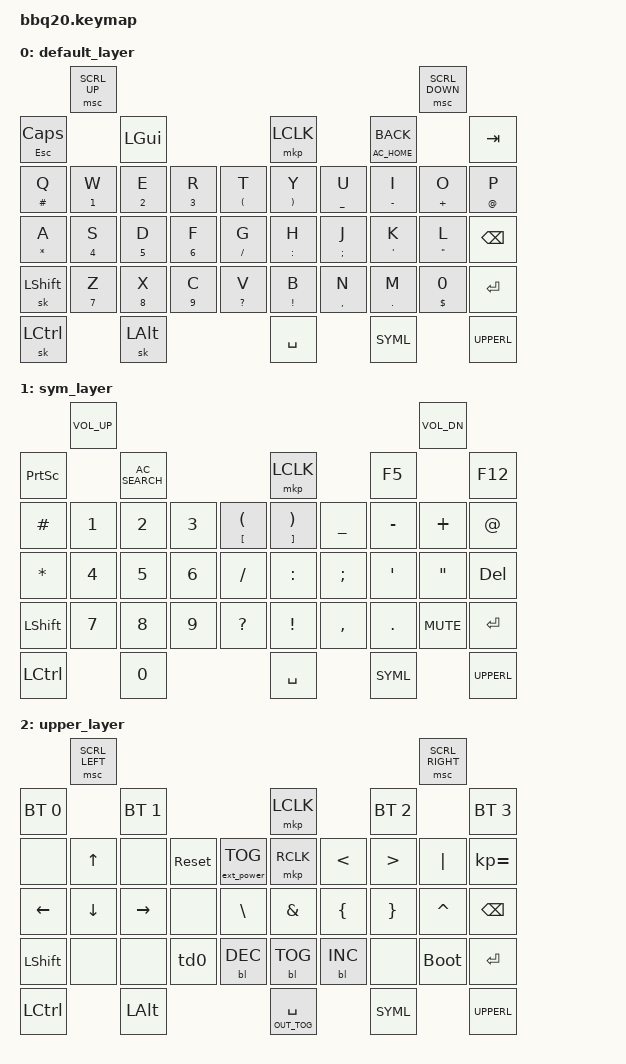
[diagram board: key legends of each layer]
/*
 * Copyright (c) 2023 ZitaoTech
 *
 * SPDX-License-Identifier: MIT
 */
 
#include <behaviors.dtsi>
#include <dt-bindings/zmk/keys.h>
#include <dt-bindings/zmk/bt.h>
#include <dt-bindings/zmk/outputs.h>
#include <dt-bindings/zmk/mouse.h>
#include <dt-bindings/zmk/backlight.h>
#include <dt-bindings/zmk/ext_power.h>

   
#define SYM 1
#define UPPER 2



/ {
    behaviors {
        td0: tap_dance_0 {
            compatible = "zmk,behavior-tap-dance";
            #binding-cells = <0>;
            tapping-term-ms = <400>;
            bindings = <&mkp LCLK>, <&bt BT_CLR>;
        };
    };
    behaviors {
        SYML: tap_dance_1 {
            compatible = "zmk,behavior-tap-dance";
            #binding-cells = <0>;
            tapping-term-ms = <500>;
            bindings = <&sl SYM>, <&tog SYM>;
        };
    };
    behaviors {
        UPPERL: tap_dance_2 {
            compatible = "zmk,behavior-tap-dance";
            #binding-cells = <0>;
            tapping-term-ms = <500>;
            bindings = <&sl UPPER>, <&tog UPPER>;
        };
    };
    behaviors {
        hm: homerow_mods {
            compatible = "zmk,behavior-hold-tap";
            #binding-cells = <2>;
            tapping-term-ms = <500>;
            bindings = <&out &kp>;
        };
    };
    // Credit: Drexel Macintosh
    behaviors {
      tap: tap {
        compatible = "zmk,behavior-macro-one-param";
        #binding-cells = <1>;
        // By default, macros will tap each behavior in the bindings list,
        // so this will tap "&kp <param1>".
        bindings = <&macro_param_1to1 &kp MACRO_PLACEHOLDER>;
      };

      // &mt where held key does not repeat
      mtt: mod_tap_tap {
        compatible = "zmk,behavior-hold-tap";
        #binding-cells = <2>;
        flavor = "tap-preferred";
        tapping-term-ms = <250>;
        quick-tap-ms = <200>;
        require-prior-idle-ms = <125>;
        bindings = <&tap>, <&tap>;
      };
    };
    combos {
        compatible = "zmk,combos";
        combo_m_left_clk {
            timeout-ms = <100>;
            key-positions = <0 3>; // Shoulder1 + BBKey
            bindings = <&mkp LCLK>;
            layers = <0>;
        };
        combo_m_right_clk {
            timeout-ms = <100>;
            key-positions = <1 4>; // Shoulder2 + Trackpad
            bindings = <&mkp RCLK>;
            layers = <0>;
        };
        combo_m_middle_clk {
            timeout-ms = <100>;
            key-positions = <1 3>; // Shoulder2 + BBKey
            bindings = <&mkp MCLK>;
            layers = <0>;
        };
        combo_left {
            timeout-ms = <100>;
            key-positions = <0 2>; // Shoulder1 + CallKey
            bindings = <&kp LEFT>;
            layers = <0>;
        };
        combo_right {
            timeout-ms = <100>;
            key-positions = <1 6>; // Shoulder2 + EndCall
            bindings = <&kp RIGHT>;
            layers = <0>;
        };
        combo_up {
            timeout-ms = <100>;
            key-positions = <0 39>; // Shoulder1 + Space
            bindings = <&kp UP>;
            layers = <0>;
        };
        combo_down {
            timeout-ms = <100>;
            key-positions = <1 39>; // Shoulder2 + Space
            bindings = <&kp DOWN>;
            layers = <0>;
        };
    };

    keymap {
        compatible = "zmk,keymap";

        default_layer {

            bindings = <
//         --------------------------------------------------------------------------------------------------------------------------         
//         |    Shoulder Key1    |                                                                             |    Shoulder Key2    |     
// |         Call key      |      Blackberry Key        |    Trackpad    |             Back Key                |             Endcall Key          |
// |     Q      |     W    |     E    |     R    |      T      |       Y        |       U        |        I        |       O      |      P        |     
// |     A      |     S    |     D    |     F    |      G      |       H        |       J        |        K        |       L      |      ←        |  
// |     alt    |     Z    |     X    |     C    |      V      |       B        |       N        |        M        |       $      |    Enter      |   
//        |         aA     |         0           |           SPACE              |         SYM         |        aA          |       
//        -----------------------------------------------------------------------------------------------------------------

                 &msc SCRL_UP                                                                                          &msc SCRL_DOWN
    &mtt ESC CLCK                &kp LGUI                            &mkp LCLK                          &mt C_AC_HOME K_BACK                    &kp TAB
    &mtt HASH Q        &mtt N1 W      &mtt N2 E       &mtt N3 R     &mtt LPAR T         &mtt RPAR Y             &mtt UNDER U            &mtt MINUS I            &mtt PLUS O            &mtt AT P
    &mtt STAR A        &mtt N4 S      &mtt N5 D       &mtt N6 F     &mtt SLASH G         &mtt COLON H             &mtt SEMI J            &mtt APOS K            &mtt DQT L            &kp BSPC
    &sk LSHFT    &mtt N7 Z      &mtt N8 X       &mtt N9 C     &mtt QMARK V         &mtt EXCL B             &mtt COMMA N            &mtt DOT M            &mtt DLLR N0         &kp ENTER
    &sk LCTRL               &sk LALT                            &kp SPACE                          &SYML                          &UPPERL
            >;
        };


        sym_layer {

            bindings = <        
                 &kp C_VOL_UP                                                                                       &kp C_VOL_DN
    &kp PSCRN               &kp C_AC_SEARCH                     &mkp LCLK                          &kp F5                            &kp F12 
    &kp HASH     &kp N1     &kp N2      &kp N3    &mt LBKT LPAR &mt RBKT RPAR     &kp UNDER        &kp MINUS        &kp PLUS         &kp AT
    &kp STAR     &kp N4     &kp N5      &kp N6    &kp SLASH     &kp COLON         &kp SEMI         &kp APOS         &kp DQT          &kp DEL
    &kp LSHFT    &kp N7     &kp N8      &kp N9    &kp QMARK     &kp EXCL          &kp COMMA        &kp DOT          &kp C_MUTE       &kp ENTER
    &kp LCTRL               &kp N0                              &kp SPACE                          &SYML                          &UPPERL
            >;
        };

        upper_layer {

            bindings = <
                 &msc SCRL_LEFT                                                                                       &msc SCRL_RIGHT
    &bt BT_SEL 0            &bt BT_SEL 1                             &mkp LCLK                           &bt BT_SEL 2                     &bt BT_SEL 3
    &none        &kp UP     &none       &sys_reset &ext_power EP_TOG &mkp RCLK     &kp LT           &kp GT          &kp PIPE         &kp KP_EQUAL
    &kp LEFT     &kp DOWN   &kp RIGHT   &none      &kp BSLH          &kp AMPS      &kp LBRC         &kp RBRC        &kp CARET        &kp BSPC
    &kp LSHFT    &none      &none       &td0      &bl BL_DEC        &bl BL_TOG    &bl BL_INC       &none           &bootloader      &kp ENTER
    &kp LCTRL               &kp LALT                                 &hm OUT_TOG SPACE              &SYML                         &UPPERL
            >;
        };
    };
};

